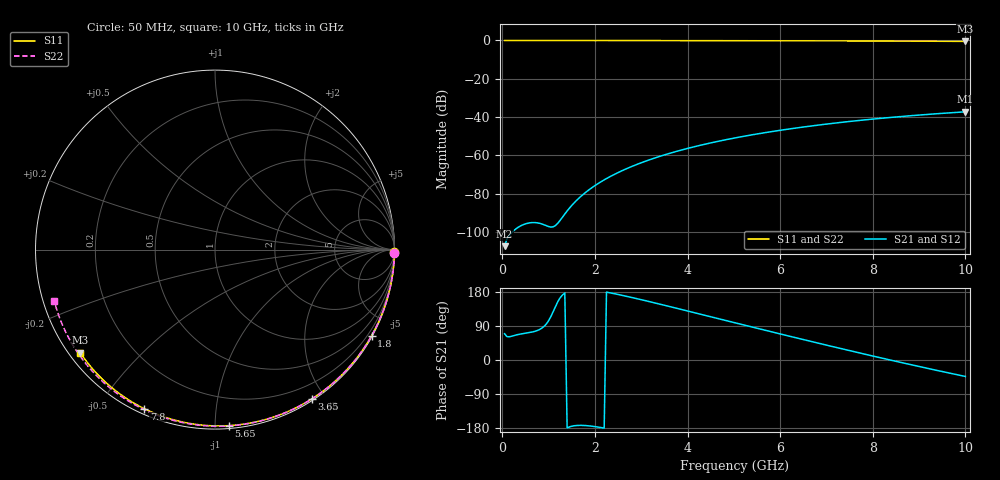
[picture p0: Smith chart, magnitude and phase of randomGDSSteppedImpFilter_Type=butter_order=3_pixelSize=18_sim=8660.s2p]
! freq	dB(S11)	phase(S11)	dB(S12)	phase(S12)
!  dB(S21)	phase(S21)	dB(S22)	phase(S22)
!S-par simulation data
#  GHz  S  DB  R 50
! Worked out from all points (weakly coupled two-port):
!   200 points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, 50 MHz to 10 GHz, reference 50 ohm
!   highest |S21| = -37.23 dB at 10 GHz (marker M1); lowest = -107.3 dB at 50 MHz (marker M2)
!   lowest |S11| = -0.5 dB at 10 GHz (marker M3), VSWR 35.41, Z = 1.57 - j16.9 ohm
!   |S11| at or under -10 dB: nowhere
!   |S22| runs from -0.5 to 0.0 dB; largest |S21 - S12| = 0
!   S11 on the Smith chart (normalised r, x): 50 MHz: open; 1.8 GHz: 0.03, -3.88; 3.65 GHz: 0.02, -1.84; 5.65 GHz: 0.02, -1.08; 7.8 GHz: 0.02, -0.65; 10 GHz: 0.03, -0.34
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0.05  -0.00 -0.8  -107.33 69.2  -107.33 69.2  -0.00 -1.0
0.45  -0.01 -7.3  -96.13 69.7  -96.13 69.7  -0.01 -8.6
0.85  -0.02 -13.8  -95.71 83.7  -95.71 83.7  -0.02 -16.1
1.3  -0.03 -21.0  -92.16 171.6  -92.16 171.6  -0.03 -24.5
1.75  -0.04 -28.1  -80.24 -172.6  -80.24 -172.6  -0.04 -32.7
1.8  -0.04 -28.9  -79.25 -173.0  -79.25 -173.0  -0.04 -33.7
1.95  -0.04 -31.2  -76.56 -174.9  -76.56 -174.9  -0.05 -36.4
2.1  -0.04 -33.6  -74.18 -177.6  -74.18 -177.6  -0.05 -39.1
2.3  -0.05 -36.7  -71.39 178.0  -71.39 178.0  -0.05 -42.7
2.5  -0.05 -39.8  -68.93 173.0  -68.93 173.0  -0.06 -46.3
2.9  -0.06 -45.9  -64.74 162.1  -64.74 162.1  -0.07 -53.3
3.4  -0.07 -53.4  -60.47 147.5  -60.47 147.5  -0.08 -62.0
3.65  -0.08 -57.1  -58.64 140.0  -58.64 140.0  -0.09 -66.2
4.3  -0.09 -66.6  -54.55 120.3  -54.55 120.3  -0.11 -77.0
5.05  -0.12 -77.3  -50.74 97.4  -50.74 97.4  -0.14 -89.1
5.65  -0.14 -85.6  -48.19 79.3  -48.19 79.3  -0.16 -98.4
6.15  -0.16 -92.4  -46.34 64.3  -46.34 64.3  -0.19 -106.0
6.7  -0.19 -99.7  -44.53 48.0  -44.53 48.0  -0.22 -114.2
7.8  -0.27 -114.0  -41.50 16.2  -41.50 16.2  -0.30 -130.3
8.35  -0.31 -121.1  -40.24 0.7  -40.24 0.7  -0.35 -138.2
9.2  -0.39 -132.0  -38.55 -22.6  -38.55 -22.6  -0.44 -150.5
10  -0.49 -142.6  -37.23 -43.5  -37.23 -43.5  -0.53 -162.2
